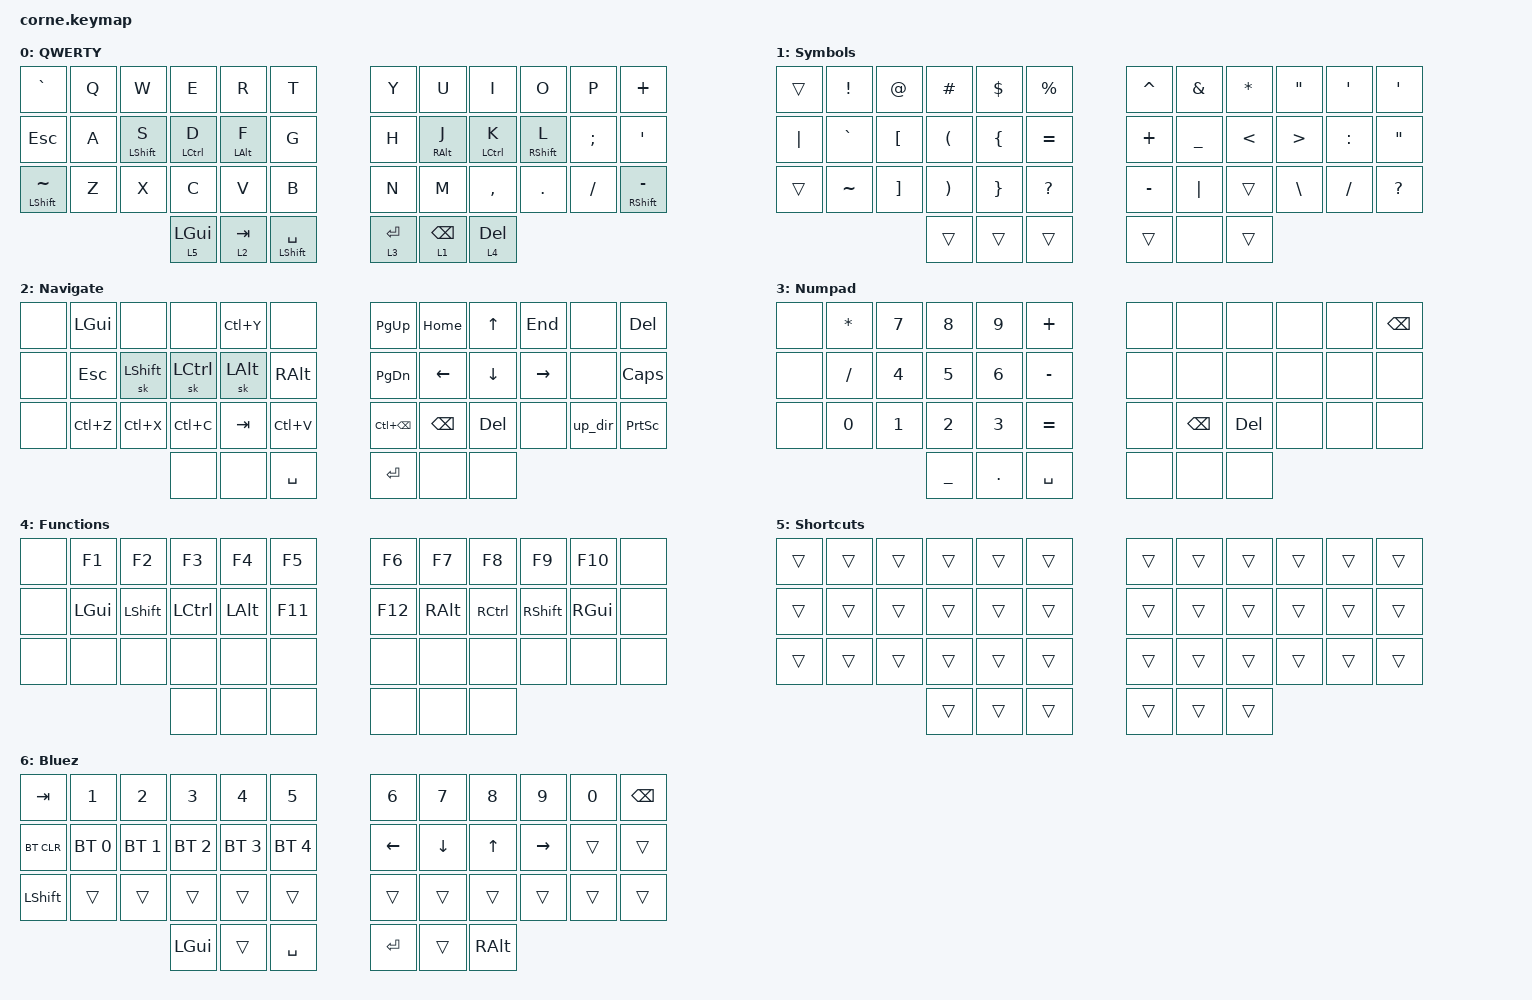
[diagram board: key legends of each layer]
/*
 * Copyright (c) 2020 The ZMK Contributors
 *
 * SPDX-License-Identifier: MIT
 */

#include <behaviors.dtsi>
#include <dt-bindings/zmk/bt.h>
#include <dt-bindings/zmk/keys.h>

&caps_word {
    continue-list = <UNDERSCORE MINUS BACKSPACE DELETE PLUS>;
};

&mt {
    flavor = "tap-preferred";
    quick-tap-ms = <190>;
};

&lt {
    quick-tap-ms = <190>;
};

/ {
    combos {
        compatible = "zmk,combos";

        Access_BT {
            bindings = <&mo 6>;
            key-positions = <40 41>;
            require-prior-idle-ms = <250>;
            timeout-ms = <150>;
        };

        capsword_on {
            bindings = <&caps_word>;
            key-positions = <17 18>;
            timeout-ms = <150>;
            require-prior-idle-ms = <275>;
            layers = <0>;
        };

        combo_capslock {
            bindings = <&kp CAPS>;
            key-positions = <7 8 9>;
            timeout-ms = <150>;
            require-prior-idle-ms = <1000>;
            layers = <0>;
        };

        combo_fnc {
            bindings = <&sl 4>;
            key-positions = <37 40>;
            timeout-ms = <150>;
            require-prior-idle-ms = <500>;
        };
    };

    macros {
        alt_f4: alt_f4 {
            compatible = "zmk,behavior-macro";
            label = "ALT_F4";
            #binding-cells = <0>;
            bindings = <&kp LALT &kp F4>;
        };
        ctrl_alt_del: ctrl_alt_del {
            compatible = "zmk,behavior-macro";
            label = "CTRL_ALT_DEL";
            #binding-cells = <0>;
            bindings = <&kp LCTRL &kp LEFT_ALT &kp DEL>;
        };
        win_screenshot: win_screenshot {
            compatible = "zmk,behavior-macro";
            label = "WIN_SCREENSHOT";
            #binding-cells = <0>;
            bindings = <&kp LEFT_WIN &kp PRINTSCREEN>;
        };
        up_dir: up_dir {
            compatible = "zmk,behavior-macro";
            label = "UP_DIR";
            #binding-cells = <0>;
            bindings = <&kp DOT &kp DOT &kp FSLH>;
        };
        combo_meh: combo_meh {
            compatible = "zmk,behavior-macro";
            #binding-cells = <0>;
            bindings = <&sk LALT &sk LSHIFT &sk LCTRL>;
            label = "COMBO_MEH";
        };
        combo_hyper: combo_hyper {
            compatible = "zmk,behavior-macro";
            #binding-cells = <0>;
            bindings = <&sk LALT &sk LSHIFT &sk LCTRL &sk LEFT_GUI>;
            label = "COMBO_HYPER";
        };
    };

    behaviors {
        hm: homerow_mods {
            compatible = "zmk,behavior-hold-tap";
            label = "HOMEROW_MODS";
            #binding-cells = <2>;
            tapping-term-ms = <180>;
            quick-tap-ms = <190>;
            flavor = "tap-preferred";
            bindings = <&kp>, <&kp>;
        };
        hmr: hmr {
            compatible = "zmk,behavior-hold-tap";
            label = "Home Row Mod - Right";
            #binding-cells = <2>;
            tapping-term-ms = <180>;
            quick-tap-ms = <190>;
            flavor = "tap-preferred";
            bindings = <&kp>, <&kp>;

            hold-trigger-key-positions = <0 1 2 3 4 5 12 13 14 15 16 17 24 25 26 27 28 29 36 37 38>;
        };
        hml: hml {
            compatible = "zmk,behavior-hold-tap";
            label = "Home Row Mods - Left";
            #binding-cells = <2>;
            tapping-term-ms = <180>;
            quick-tap-ms = <190>;
            flavor = "tap-preferred";
            bindings = <&kp>, <&kp>;

            hold-trigger-key-positions = <6 7 8 9 10 11 18 19 20 21 22 23 30 31 32 33 34 35 39 40 41>;
        };
    };

    keymap {
        compatible = "zmk,keymap";

        //  Template
        // +------------------------------------+   +-----------------------------------+
        // |      |     |     |     |     |     |   |     |     |     |     |     |     |
        // |------------------------------------|   |-----------------------------------|
        // |      |     |     |     |     |     |   |     |     |     |     |     |     |
        // |------------------------------------|   |-----------------------------------|
        // |      |     |     |     |     |     |   |     |     |     |     |     |     |
        // +------------------+-----------------|   |-----------------+-----------------+
        //                    |     |     |     |   |     |     |     |
        //                    +-----------------+   +-----------------+

        BASE {
            // -----------------------------------------------------------------------------------------
            // |   `  |  Q  |  W  |  E  |  R  |  T  |   |  Y  |   U   |  I  |  O  |  P  |  +   |
            // | ESC  |  A  |  S  |  D  |  F  |  G  |   |  H  |   J   |  K  |  L  |  ;  |  '   |
            // |   ~  |  Z  |  X  |  C  |  V  |  B  |   |  N  |   M   |  ,  |  .  |  /  |  -   |
            //                    | GUI | TAB | SPC |   | ENT | BKSPC | ALT |
            //  Template
            // +------------------------------------+   +-----------------------------------+
            // |      |     |     |     |     |     |   |     |     |     |     |     |     |
            // |------------------------------------|   |-----------------------------------|
            // |      |     |     |     |     |     |   |     |     |     |     |     |     |
            // |------------------------------------|   |-----------------------------------|
            // |      |     |     |     |     |     |   |     |     |     |     |     |     |
            // +------------------+-----------------|   |-----------------+-----------------+
            //                    |     |     |     |   |     |     |     |
            //                    +-----------------+   +-----------------+

            bindings = <
&kp GRAVE        &kp Q  &kp W          &kp E         &kp R        &kp T                   &kp Y        &kp U            &kp I         &kp O         &kp P     &kp PLUS
&kp ESC          &kp A  &hml LSHIFT S  &hml LCTRL D  &hml LALT F  &kp G                   &kp H        &hmr RALT J      &hmr LCTRL K  &hmr RSHFT L  &kp SEMI  &kp SQT
&mt LSHFT TILDE  &kp Z  &kp X          &kp C         &kp V        &kp B                   &kp N        &kp M            &kp COMMA     &kp DOT       &kp FSLH  &mt RSHFT MINUS
                                       &lt 5 LGUI    &lt 2 TAB    &mt LEFT_SHIFT SPACE    &lt 3 ENTER  &lt 1 BACKSPACE  &lt 4 DEL
            >;

            label = "QWERTY";
        };

        SYM {
            // -----------------------------------------------------------------------------------------
            // |     |  !  |  @  |  #  |  $  |  %  |   |  ^  |   *   |  *  |  "  |  '  |  '   |
            // |  |  |  `  |  [  |  (  |  {  |  =  |   |  +  |   _   |  <  |  >  |  :  |  "   |
            // |     |  ~  |  ]  |  )  |  }  |  ?  |   |  -  |   |   |  ,  |  .  |  /  |  ?   |
            //                   | GUI | TAB | SPC |   | ENT | BKSPC | ALT |

            bindings = <
&trans    &kp EXCLAMATION  &kp AT_SIGN        &kp POUND              &kp DOLLAR       &kp PERCENT     &kp CARET  &kp AMPERSAND   &kp ASTERISK   &kp DOUBLE_QUOTES  &kp SINGLE_QUOTE  &kp SINGLE_QUOTE
&kp PIPE  &kp GRAVE        &kp LBKT           &kp LEFT_PARENTHESIS   &kp LEFT_BRACE   &kp EQUAL       &kp PLUS   &kp UNDERSCORE  &kp LESS_THAN  &kp GREATER_THAN   &kp COLON         &kp DOUBLE_QUOTES
&trans    &kp TILDE        &kp RIGHT_BRACKET  &kp RIGHT_PARENTHESIS  &kp RIGHT_BRACE  &kp QUESTION    &kp MINUS  &kp PIPE        &trans         &kp BACKSLASH      &kp SLASH         &kp QUESTION
                                              &trans                 &trans           &trans          &trans     &none           &trans
            >;

            label = "Symbols";
        };

        NAV {
            // --------------------------------------------------------------------------------------------
            // |      |      |      |      | REDO |      |   | PGUP | HOME |  UP  |  END  |     |   DEL   |
            // |      | LGUI | LSFT | LCTL | LALT |      |   | PGDN | LEFT |  DWN |  RGHT |     |   INS   |
            // |      | UNDO | CUT  |  CPY | PSTE |      |   |      |      |      |       | ../ | PRTSCN  |
            //                      |      |      | SPC  |   | ENT  |      |      |

            bindings = <
&none  &kp LGUI    &none           &none      &kp LC(Y)  &none            &kp PG_UP          &kp HOME       &kp UP    &kp END    &none    &kp DEL
&none  &kp ESCAPE  &sk LEFT_SHIFT  &sk LCTRL  &sk LALT   &kp RIGHT_ALT    &kp PG_DN          &kp LEFT       &kp DOWN  &kp RIGHT  &none    &kp CAPS
&none  &kp LC(Z)   &kp LC(X)       &kp LC(C)  &kp TAB    &kp LC(V)        &kp LC(BACKSPACE)  &kp BACKSPACE  &kp DEL   &none      &up_dir  &kp PRINTSCREEN
                                   &none      &none      &kp SPACE        &kp RET            &none          &none
            >;

            label = "Navigate";
        };

        NUM {
            // +------------------------------------+   +-----------------------------------+
            // |      |  *  |  7  |  8  |  9  |  +  |   |     |     |     |     |     |     |
            // |------------------------------------|   |-----------------------------------|
            // |      |  /  |  4  |  5  |  6  |  -  |   |     |     |     |     |     |     |
            // |------------------------------------|   |-----------------------------------|
            // |      |  _  |  1  |  2  |  3  |  =  |   |     |     |     |     |     |     |
            // +------------------------------------|   |-----------------------------------+
            //                    |  0  |  .  |     |   |     |     |     |
            //                    +-----------------+   +-----------------+

            bindings = <
&none  &kp ASTERISK  &kp N7  &kp N8          &kp N9   &kp PLUS     &none  &none          &none    &none  &none  &kp BACKSPACE
&none  &kp SLASH     &kp N4  &kp N5          &kp N6   &kp MINUS    &none  &none          &none    &none  &none  &none
&none  &kp N0        &kp N1  &kp N2          &kp N3   &kp EQUAL    &none  &kp BACKSPACE  &kp DEL  &none  &none  &none
                             &kp UNDERSCORE  &kp DOT  &kp SPACE    &none  &none          &none
            >;

            label = "Numpad";
        };

        FNC {
            bindings = <
&none  &kp F1    &kp F2     &kp F3     &kp F4    &kp F5     &kp F6   &kp F7    &kp F8     &kp F9     &kp F10   &none
&none  &kp LGUI  &kp LSHFT  &kp LCTRL  &kp LALT  &kp F11    &kp F12  &kp RALT  &kp RCTRL  &kp RSHFT  &kp RGUI  &none
&none  &none     &none      &none      &none     &none      &none    &none     &none      &none      &none     &none
                            &none      &none     &none      &none    &none     &none
            >;

            label = "Functions";
        };

        SHORT {
            bindings = <
&trans  &trans  &trans  &trans  &trans  &trans    &trans  &trans  &trans  &trans  &trans  &trans
&trans  &trans  &trans  &trans  &trans  &trans    &trans  &trans  &trans  &trans  &trans  &trans
&trans  &trans  &trans  &trans  &trans  &trans    &trans  &trans  &trans  &trans  &trans  &trans
                        &trans  &trans  &trans    &trans  &trans  &trans
            >;

            label = "Shortcuts";
        };

        BT {
            // -----------------------------------------------------------------------------------------
            // |  TAB |  1  |  2  |  3  |  4  |  5  |   |  6  |  7  |  8  |  9  |  0  | BKSP |
            // | BTCLR| BT1 | BT2 | BT3 | BT4 | BT5 |   | LFT | DWN |  UP | RGT |     |      |
            // | SHFT |     |     |     |     |     |   |     |     |     |     |     |      |
            //                    | GUI |     | SPC |   | ENT |     | ALT |

            bindings = <
&kp TAB     &kp N1        &kp N2        &kp N3        &kp N4        &kp N5          &kp N6    &kp N7    &kp N8    &kp N9     &kp N0  &kp BSPC
&bt BT_CLR  &bt BT_SEL 0  &bt BT_SEL 1  &bt BT_SEL 2  &bt BT_SEL 3  &bt BT_SEL 4    &kp LEFT  &kp DOWN  &kp UP    &kp RIGHT  &trans  &trans
&kp LSHFT   &trans        &trans        &trans        &trans        &trans          &trans    &trans    &trans    &trans     &trans  &trans
                                        &kp LGUI      &trans        &kp SPACE       &kp RET   &trans    &kp RALT
            >;

            label = "Bluez";
        };
    };
};
